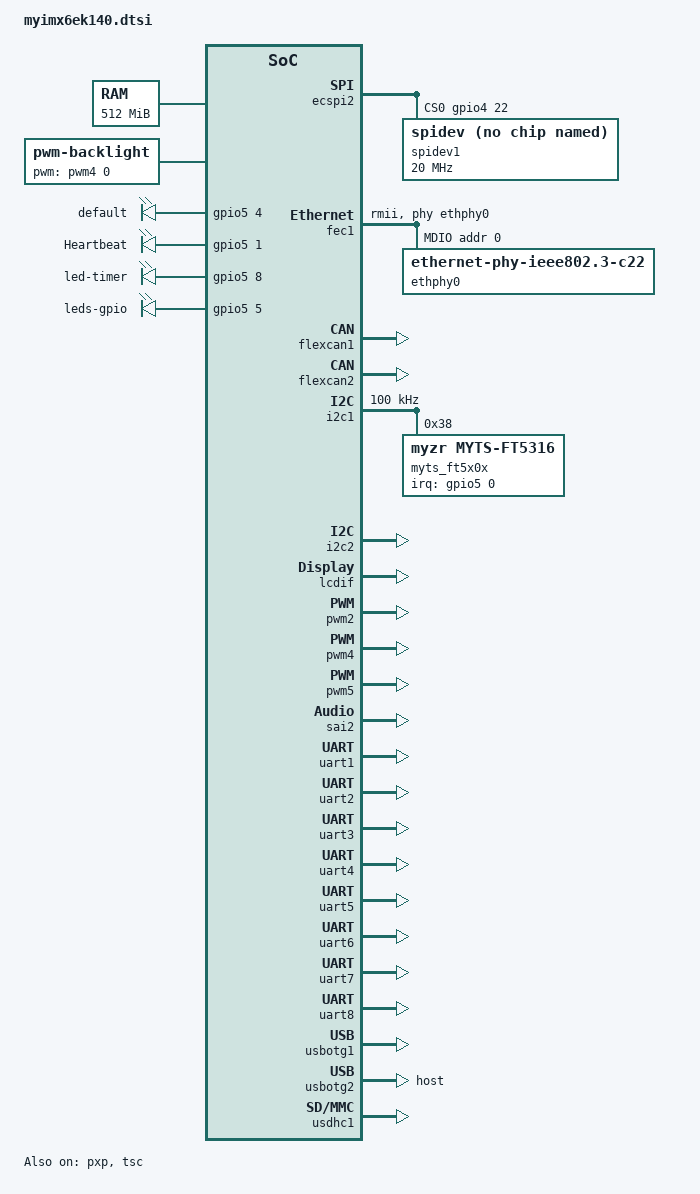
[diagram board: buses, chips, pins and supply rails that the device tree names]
/*
 * MYZR Technology Co.,Ltd
 * http://www.myzr.com.cn
 * Tang Bin <tangb@myzr.com.cn>
 */

/ {
    chosen {
        stdout-path = &uart1;
    };

    memory {
        reg = <0x80000000 0x20000000>;
    };

    backlight {
        compatible = "pwm-backlight";
        pwms = <&pwm4 0 5000000>;
        brightness-levels = <0 4 8 16 32 64 128 255>;
        default-brightness-level = <4>;
        status = "okay";
    };

    pxp_v4l2 {
        compatible = "fsl,imx6ul-pxp-v4l2", "fsl,imx6sx-pxp-v4l2", "fsl,imx6sl-pxp-v4l2";
        status = "okay";
    };

    regulators {
        compatible = "simple-bus";
        #address-cells = <1>;
        #size-cells = <0>;
    };

    leds {
        compatible = "gpio-leds";
        pinctrl-names = "default";
        pinctrl-0 = <&pinctrl_snvs_gpio_leds>;

        led-default {
            label = "default";
            gpios = <&gpio5 4 0>;
            linux,default-trigger = "default-on";
            default-state = "on";
        };

        led-heartbeat {
            label = "Heartbeat";
            gpios = <&gpio5 1 0>;
            linux,default-trigger = "heartbeat";
        };

        led-timer {
            linux,default-trigger = "timer";
            gpios = <&gpio5 8 0>;
            default-state = "off";
        };

        led-gpio {
            label = "leds-gpio";
            gpios = <&gpio5 5 0>;
            linux,default-trigger = "gpio";
        };
    };
};

&cpu0 {
    arm-supply = <&reg_arm>;
    soc-supply = <&reg_soc>;
};

&clks {
    assigned-clocks = <&clks IMX6UL_CLK_PLL4_AUDIO_DIV>;
    assigned-clock-rates = <786432000>;
};

&ecspi1 {
    fsl,spi-num-chipselects = <1>;
    cs-gpios = <&gpio4 26 0>;
    pinctrl-names = "default";
    pinctrl-0 = <&pinctrl_csi_ecspi1 &pinctrl_csi_ecspi1_cs0>;
    status = "disabled";

    spidev0: spi@0 {
        compatible = "spidev";
        spi-max-frequency = <20000000>;
        reg = <0>;
    };
};

&ecspi2 {
    fsl,spi-num-chipselects = <1>;
    cs-gpios = <&gpio4 22 0>;
    pinctrl-names = "default";
    pinctrl-0 = <&pinctrl_csi_ecspi2 &pinctrl_csi_ecspi2_cs0>;
    status = "okay";

    spidev1: spi@0 {
        compatible = "spidev";
        spi-max-frequency = <20000000>;
        reg = <0>;
    };
};

&fec1 {
    pinctrl-names = "default";
    pinctrl-0 = <&pinctrl_gpio1_enet1_smi &pinctrl_enet1_enet1 &pinctrl_snvs_enet1_gpio>;
    phy-mode = "rmii";
    phy-handle = <&ethphy0>;
    status = "okay";

    mdio {
        #address-cells = <1>;
        #size-cells = <0>;

        ethphy0: ethernet-phy@0 {
             compatible = "ethernet-phy-ieee802.3-c22";
             reg = <0>;
         };
    };
};

&fec2 {
    status = "disabled";
};

&flexcan1 {
    pinctrl-names = "default";
    pinctrl-0 = <&pinctrl_uart3_flexcan1>;
    status = "okay";
};

&flexcan2 {
    pinctrl-names = "default";
    pinctrl-0 = <&pinctrl_uart2_flexcan2>;
    status = "okay";
};

&gpc {
    fsl,cpu_pupscr_sw2iso = <0x1>;
    fsl,cpu_pupscr_sw = <0x0>;
    fsl,cpu_pdnscr_iso2sw = <0x1>;
    fsl,cpu_pdnscr_iso = <0x1>;
    fsl,wdog-reset = <1>; /* watchdog select of reset source */
    fsl,ldo-bypass = <0>; /* DCDC, ldo-enable */
};

&i2c1 {
    clock-frequency = <100000>;
    pinctrl-names = "default";
    pinctrl-0 = <&pinctrl_csi_i2c1>;
    status = "okay";
	
	myts_ft5x0x@38 {
		compatible = "myzr,myts-ft5316";
		reg = <0x38>;
		pinctrl-names = "default";
		pinctrl-0 = <&pinctrl_snvs_ts>;
		interrupt-parent = <&gpio5>;
		interrupts = <0 0>;
		linux,wakeup;
    };
};

&i2c2 {
    clock_frequency = <100000>;
    pinctrl-names = "default";
    pinctrl-0 = <&pinctrl_csi_i2c2>;
    status = "okay";
};

&lcdif {
    pinctrl-names = "default";
    pinctrl-0 = <&pinctrl_lcd_lcdif_ctrl &pinctrl_lcd_lcdif_data>;
    display = <&display0>;
    status = "okay";

    display0: display {
        bits-per-pixel = <16>;
        bus-width = <24>;

    display-timings {
        native-mode = <&timing0>;
        timing0: timing0 {
             clock-frequency = <9200000>;
             hactive = <480>;
             vactive = <272>;
             hfront-porch = <8>;
             hback-porch = <4>;
             hsync-len = <41>;
             vback-porch = <2>;
             vfront-porch = <4>;
             vsync-len = <10>;

             hsync-active = <0>;
             vsync-active = <0>;
             de-active = <1>;
             pixelclk-active = <0>;
            };
        };
    };
};

&pwm2 {
    pinctrl-names = "default";
    pinctrl-0 = <&pinctrl_gpio1_pwm2>;
    clocks = <&clks IMX6UL_CLK_PWM2>,
           <&clks IMX6UL_CLK_PWM2>;
    status = "okay";
};

&pwm4 {
    pinctrl-names = "default";
    pinctrl-0 = <&pinctrl_gpio1_pwm4>;
    clocks = <&clks IMX6UL_CLK_PWM4>,
           <&clks IMX6UL_CLK_PWM4>;
    status = "okay";
};

&pwm5 {
    pinctrl-names = "default";
    pinctrl-0 = <&pinctrl_nand_pwm5>;
    clocks = <&clks IMX6UL_CLK_PWM5>,
           <&clks IMX6UL_CLK_PWM5>;
    status = "okay";
};

&pxp {
    status = "okay";
};

&sai2 {
    pinctrl-names = "default";
    pinctrl-0 = <&pinctrl_jtag_sai2>;
    assigned-clocks = <&clks IMX6UL_CLK_SAI2_SEL>,
        <&clks IMX6UL_CLK_SAI2>;
    assigned-clock-parents = <&clks IMX6UL_CLK_PLL4_AUDIO_DIV>;
    assigned-clock-rates = <0>, <12288000>;
    status = "okay";
};

&tsc {
    pinctrl-names = "default";
    pinctrl-0 = <&pinctrl_gpio1_tsc>;
    xnur-gpio = <&gpio1 3 GPIO_ACTIVE_LOW>;
    measure-delay-time = <0xffff>;
    pre-charge-time = <0xfff>;
    status = "okay";
};

&uart1 {
    pinctrl-names = "default";
    pinctrl-0 = <&pinctrl_uart1_uart1>;
    status = "okay";
};

&uart2 {
    pinctrl-names = "default";
    pinctrl-0 = <&pinctrl_uart2_uart2>;
    status = "okay";
};

&uart3 {
    pinctrl-names = "default";
    pinctrl-0 = <&pinctrl_uart3_uart3>;
    status = "okay";
};

&uart4 {
    pinctrl-names = "default";
    pinctrl-0 = <&pinctrl_uart4_uart4>;
    status = "okay";
};

&uart5 {
    pinctrl-names = "default";
    pinctrl-0 = <&pinctrl_uart5_uart5>;
    status = "okay";
};

&uart6 {
    pinctrl-names = "default";
    pinctrl-0 = <&pinctrl_enet2_uart6>;
    status = "okay";
};

&uart7 {
    pinctrl-names = "default";
    pinctrl-0 = <&pinctrl_enet2_uart7>;
    status = "okay";
};

&uart8 {
    pinctrl-names = "default";
    pinctrl-0 = <&pinctrl_enet2_uart8>;
    fsl,uart-has-rtscts;
    status = "okay";
};

&usbotg1 {
    pinctrl-names = "default";
    pinctrl-0 = <&pinctrl_gpio1_usb_otg1_id>;
    srp-disable;
    hnp-disable;
    adp-disable;
    status = "okay";
};

&usbotg2 {
    dr_mode = "host";
    disable-over-current;
    status = "okay";
};

&usdhc1 {
    pinctrl-names = "default";
    pinctrl-0 = <&pinctrl_sd1_usdhc1>;
    keep-power-in-suspend;
    enable-sdio-wakeup;
    status = "okay";
};

&iomuxc {
    pinctrl-names = "default";
    pinctrl-0 = <&pinctrl_nand_gpio &pinctrl_gpio1_gpio &pinctrl_uart1_gpio &pinctrl_snvs_gpio>;
};
